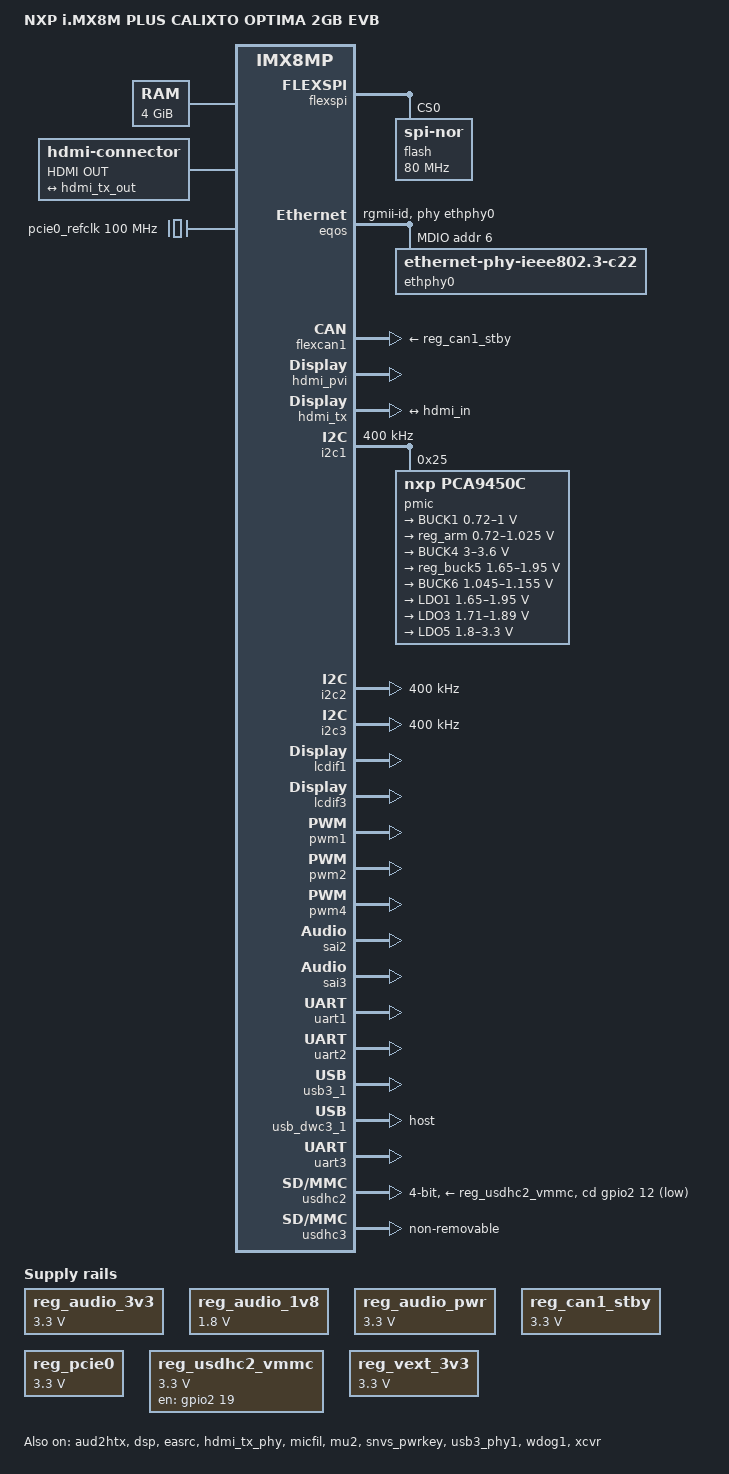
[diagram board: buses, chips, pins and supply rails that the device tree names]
// SPDX-License-Identifier: (GPL-2.0+ OR MIT)
/*
 * Copyright 2026 CALIXTO SYSTEMS
 */

/dts-v1/;

#include <dt-bindings/phy/phy-imx8-pcie.h>
#include <dt-bindings/usb/pd.h>
#include "imx8mp.dtsi"

/ {
	model = "NXP i.MX8M PLUS CALIXTO OPTIMA 2GB EVB";
	compatible = "fsl,imx8mp-calixto-optima-som", "fsl,imx8mp";

	chosen {
		bootargs = "console=ttymxc1,115200 earlycon=ec_imx6q,0x30890000,115200";
		stdout-path = &uart2;
	};

	memory@40000000 {
		device_type = "memory";
		reg = <0x0 0x40000000 0 0xC0000000>,
		      <0x1 0x00000000 0 0x40000000>;
	};

	native-hdmi-connector {
		compatible = "hdmi-connector";
		label = "HDMI OUT";
		type = "a";

		port {
			hdmi_in: endpoint {
				remote-endpoint = <&hdmi_tx_out>;
			};
		};
	};

	pcie0_refclk: pcie0-refclk {
		compatible = "fixed-clock";
		#clock-cells = <0>;
		clock-frequency = <100000000>;
	};

	reg_audio_3v3: regulator-audio-3v3 {
		compatible = "regulator-fixed";
		regulator-name = "audio-3v3";
		regulator-min-microvolt = <3300000>;
		regulator-max-microvolt = <3300000>;
		regulator-always-on;
		regulator-boot-on;
	};

	reg_audio_1v8: regulator-audio-1v8 {
		compatible = "regulator-fixed";
		regulator-name = "audio-1v8";
		regulator-min-microvolt = <1800000>;
		regulator-max-microvolt = <1800000>;
		regulator-always-on;
		regulator-boot-on;
	};

	reg_audio_pwr: regulator-audio-pwr {
		compatible = "regulator-fixed";
		regulator-name = "audio-pwr";
		regulator-min-microvolt = <3300000>;
		regulator-max-microvolt = <3300000>;
		regulator-always-on;
		regulator-boot-on;
	};

	reg_can1_stby: regulator-can1-stby {
		compatible = "regulator-fixed";
		regulator-name = "can1-stby";
		regulator-min-microvolt = <3300000>;
		regulator-max-microvolt = <3300000>;
		regulator-always-on;
		regulator-boot-on;
	};

	reg_pcie0: regulator-pcie {
		compatible = "regulator-fixed";
		regulator-name = "MPCIE_3V3";
		regulator-min-microvolt = <3300000>;
		regulator-max-microvolt = <3300000>;
		regulator-always-on;
		regulator-boot-on;
	};

	reg_usdhc2_vmmc: regulator-usdhc2 {
		compatible = "regulator-fixed";
		pinctrl-names = "default";
		pinctrl-0 = <&pinctrl_reg_usdhc2_vmmc>;
		regulator-name = "VSD_3V3";
		regulator-min-microvolt = <3300000>;
		regulator-max-microvolt = <3300000>;
		gpio = <&gpio2 19 GPIO_ACTIVE_HIGH>;
		enable-active-high;
		startup-delay-us = <100>;
		off-on-delay-us = <12000>;
	};

	reg_vext_3v3: regulator-vext-3v3 {
		compatible = "regulator-fixed";
		regulator-name = "VEXT_3V3";
		regulator-min-microvolt = <3300000>;
		regulator-max-microvolt = <3300000>;
	};

	sound-hdmi {
		compatible = "fsl,imx-audio-hdmi";
		model = "audio-hdmi";
		audio-cpu = <&aud2htx>;
		hdmi-out;
	};


	reserved-memory {
		#address-cells = <2>;
		#size-cells = <2>;
		ranges;

		dsp_vdev0vring0: vdev0vring0@942f0000 {
			reg = <0 0x942f0000 0 0x8000>;
			no-map;
		};

		dsp_vdev0vring1: vdev0vring1@942f8000 {
			reg = <0 0x942f8000 0 0x8000>;
			no-map;
		};

		dsp_vdev0buffer: vdev0buffer@94300000 {
			compatible = "shared-dma-pool";
			reg = <0 0x94300000 0 0x100000>;
			no-map;
		};
	};
};

&flexspi {
	pinctrl-names = "default";
	pinctrl-0 = <&pinctrl_flexspi0>;
	status = "okay";

	flash@0 {
		compatible = "jedec,spi-nor";
		reg = <0>;
		spi-max-frequency = <80000000>;
		spi-tx-bus-width = <1>;
		spi-rx-bus-width = <4>;
	};
};

&A53_0 {
	cpu-supply = <&reg_arm>;
};

&A53_1 {
	cpu-supply = <&reg_arm>;
};

&A53_2 {
	cpu-supply = <&reg_arm>;
};

&A53_3 {
	cpu-supply = <&reg_arm>;
};

&aud2htx {
	status = "okay";
};

&dsp_reserved {
	status = "okay";
};

&dsp {
	memory-region = <&dsp_vdev0buffer>, <&dsp_vdev0vring0>,
			<&dsp_vdev0vring1>, <&dsp_reserved>;
	status = "okay";
};

&easrc {
	fsl,asrc-rate = <48000>;
	status = "okay";
};

&eqos {
	pinctrl-names = "default";
	pinctrl-0 = <&pinctrl_eqos>;
	phy-mode = "rgmii-id";
	phy-handle = <&ethphy0>;
	snps,force_thresh_dma_mode;
	status = "okay";

	mdio {
		compatible = "snps,dwmac-mdio";
		#address-cells = <1>;
		#size-cells = <0>;

		ethphy0: ethernet-phy@6 {
			compatible = "ethernet-phy-ieee802.3-c22";
			reg = <6>;
			eee-broken-1000t;
		};
	};
};

&flexcan1 {
	pinctrl-names = "default";
	pinctrl-0 = <&pinctrl_flexcan1>;
	xceiver-supply = <&reg_can1_stby>;
	status = "okay";
};

&flexcan2 {
	status = "disabled";/* can2 pin conflict with pdm */
};

&hdmi_pvi {
	status = "okay";
};

&hdmi_tx {
	pinctrl-names = "default";
	pinctrl-0 = <&pinctrl_hdmi>;
	status = "okay";

	ports {
		port@1 {
			hdmi_tx_out: endpoint {
				remote-endpoint = <&hdmi_in>;
			};
		};
	};
};

&hdmi_tx_phy {
	status = "okay";
};

&i2c1 {
	clock-frequency = <400000>;
	pinctrl-names = "default";
	pinctrl-0 = <&pinctrl_i2c1>;
	status = "okay";

	pmic@25 {
		compatible = "nxp,pca9450c";
		reg = <0x25>;

		regulators {
			BUCK1 {
				regulator-name = "BUCK1";
				regulator-min-microvolt = <720000>;
				regulator-max-microvolt = <1000000>;
				regulator-boot-on;
				regulator-always-on;
				regulator-ramp-delay = <3125>;
			};

			reg_arm: BUCK2 {
				regulator-name = "BUCK2";
				regulator-min-microvolt = <720000>;
				regulator-max-microvolt = <1025000>;
				regulator-boot-on;
				regulator-always-on;
				regulator-ramp-delay = <3125>;
				nxp,dvs-run-voltage = <950000>;
				nxp,dvs-standby-voltage = <850000>;
			};

			BUCK4 {
				regulator-name = "BUCK4";
				regulator-min-microvolt = <3000000>;
				regulator-max-microvolt = <3600000>;
				regulator-boot-on;
				regulator-always-on;
			};

			reg_buck5: BUCK5 {
				regulator-name = "BUCK5";
				regulator-min-microvolt = <1650000>;
				regulator-max-microvolt = <1950000>;
				regulator-boot-on;
				regulator-always-on;
			};

			BUCK6 {
				regulator-name = "BUCK6";
				regulator-min-microvolt = <1045000>;
				regulator-max-microvolt = <1155000>;
				regulator-boot-on;
				regulator-always-on;
			};

			LDO1 {
				regulator-name = "LDO1";
				regulator-min-microvolt = <1650000>;
				regulator-max-microvolt = <1950000>;
				regulator-boot-on;
				regulator-always-on;
			};

			LDO3 {
				regulator-name = "LDO3";
				regulator-min-microvolt = <1710000>;
				regulator-max-microvolt = <1890000>;
				regulator-boot-on;
				regulator-always-on;
			};

			LDO5 {
				regulator-name = "LDO5";
				regulator-min-microvolt = <1800000>;
				regulator-max-microvolt = <3300000>;
				regulator-boot-on;
				regulator-always-on;
			};
		};
	};
};

&i2c2 {
	clock-frequency = <400000>;
	pinctrl-names = "default";
	pinctrl-0 = <&pinctrl_i2c2>;
	status = "okay";
};

&i2c3 {
	clock-frequency = <400000>;
	pinctrl-names = "default";
	pinctrl-0 = <&pinctrl_i2c3>;
	status = "okay";

};

/* I2C on expansion connector J22. */
&i2c5 {
	clock-frequency = <100000>; /* Lower clock speed for external bus. */
	pinctrl-names = "default";
	pinctrl-0 = <&pinctrl_i2c5>;
	status = "disabled"; /* can1 pins conflict with i2c5 */

	/* GPIO 2 of PCA6416 is used to switch between CAN1 and I2C5 functions:
	 *     LOW:  CAN1 (default, pull-down)
	 *     HIGH: I2C5
	 * You need to set it to high to enable I2C5 (for example, add gpio-hog
	 * in pca6416 node).
	 */
};

&lcdif1 {
	status = "okay";
};

&lcdif3 {
	status = "okay";
};

&micfil {
	#sound-dai-cells = <0>;
	pinctrl-names = "default";
	pinctrl-0 = <&pinctrl_pdm>;
	assigned-clocks = <&clk IMX8MP_CLK_PDM>;
	assigned-clock-parents = <&clk IMX8MP_AUDIO_PLL1_OUT>;
	assigned-clock-rates = <196608000>;
	status = "okay";
};

&mipi_dsi {
	samsung,esc-clock-frequency = <10000000>;
	status = "disabled";
};

&mu2 {
	status = "okay";
};

&pcie_phy {
	fsl,refclk-pad-mode = <IMX8_PCIE_REFCLK_PAD_INPUT>;
	clocks = <&pcie0_refclk>;
	clock-names = "ref";
	status = "disabled";
};

&pcie0 {
	pinctrl-names = "default";
	pinctrl-0 = <&pinctrl_pcie0>;
	reset-gpio = <&gpio1 6 GPIO_ACTIVE_LOW>;
	vpcie-supply = <&reg_pcie0>;
	status = "disabled";
};

&pcie0_ep {
	pinctrl-0 = <&pinctrl_pcie0>;
	pinctrl-names = "default";
	status = "disabled";
};

&pwm1 {
	pinctrl-names = "default";
	pinctrl-0 = <&pinctrl_pwm1>;
	status = "okay";
};

&pwm2 {
	pinctrl-names = "default";
	pinctrl-0 = <&pinctrl_pwm2>;
	status = "okay";
};

&pwm4 {
	pinctrl-names = "default";
	pinctrl-0 = <&pinctrl_pwm4>;
	status = "okay";
};

&sai2 {
	#sound-dai-cells = <0>;
	pinctrl-names = "default";
	pinctrl-0 = <&pinctrl_sai2>;
	assigned-clocks = <&clk IMX8MP_CLK_SAI2>;
	assigned-clock-parents = <&clk IMX8MP_AUDIO_PLL1_OUT>;
	assigned-clock-rates = <12288000>;
	fsl,sai-mclk-direction-output;
	status = "okay";
};

&sai3 {
	pinctrl-names = "default";
	pinctrl-0 = <&pinctrl_sai3>;
	assigned-clocks = <&clk IMX8MP_CLK_SAI3>;
	assigned-clock-parents = <&clk IMX8MP_AUDIO_PLL1_OUT>;
	assigned-clock-rates = <12288000>;
	fsl,sai-mclk-direction-output;
	status = "okay";
};

&snvs_pwrkey {
	status = "okay";
};

&uart1 { 
	pinctrl-names = "default";
	pinctrl-0 = <&pinctrl_uart1>;
	status = "okay";
};

&uart2 {
	/* console */
	pinctrl-names = "default";
	pinctrl-0 = <&pinctrl_uart2>;
	status = "okay";
};

&usb3_phy1 {
	status = "okay";
};

&usb3_1 {
	status = "okay";
};

&usb_dwc3_1 {
	pinctrl-names = "default";
	pinctrl-0 = <&pinctrl_usb1_vbus>;
	dr_mode = "host";
	status = "okay";
};

&uart3 {
	pinctrl-names = "default";
	pinctrl-0 = <&pinctrl_uart3>;
	assigned-clocks = <&clk IMX8MP_CLK_UART3>;
	assigned-clock-parents = <&clk IMX8MP_SYS_PLL1_80M>;
	uart-has-rtscts;
	status = "okay";
};

&usdhc2 {
	pinctrl-names = "default", "state_100mhz", "state_200mhz";
	pinctrl-0 = <&pinctrl_usdhc2>, <&pinctrl_usdhc2_gpio>;
	pinctrl-1 = <&pinctrl_usdhc2_100mhz>, <&pinctrl_usdhc2_gpio>;
	pinctrl-2 = <&pinctrl_usdhc2_200mhz>, <&pinctrl_usdhc2_gpio>;
	cd-gpios = <&gpio2 12 GPIO_ACTIVE_LOW>;
	vmmc-supply = <&reg_usdhc2_vmmc>;
	bus-width = <4>;
	no-1-8-v;
	status = "okay";
};

&usdhc3 {
	assigned-clocks = <&clk IMX8MP_CLK_USDHC3>;
	assigned-clock-rates = <400000000>;
	pinctrl-names = "default", "state_100mhz", "state_200mhz";
	pinctrl-0 = <&pinctrl_usdhc3>;
	pinctrl-1 = <&pinctrl_usdhc3_100mhz>;
	pinctrl-2 = <&pinctrl_usdhc3_200mhz>;
	non-removable;
	status = "okay";
};

&wdog1 {
	pinctrl-names = "default";
	pinctrl-0 = <&pinctrl_wdog>;
	fsl,ext-reset-output;
	status = "okay";
};

&xcvr {
	#sound-dai-cells = <0>;
	status = "okay";
};

&iomuxc {
	pinctrl-names = "default";
	pinctrl-0 = <&pinctrl_hog>;

	pinctrl_audio_pwr_reg: audiopwrreggrp {
		fsl,pins = <
			MX8MP_IOMUXC_SAI3_RXC__GPIO4_IO29		0xd6
		>;
	};

	pinctrl_eqos: eqosgrp {
		fsl,pins = <
			MX8MP_IOMUXC_ENET_MDC__ENET_QOS_MDC				0x2
			MX8MP_IOMUXC_ENET_MDIO__ENET_QOS_MDIO				0x2
			MX8MP_IOMUXC_ENET_RD0__ENET_QOS_RGMII_RD0			0x90
			MX8MP_IOMUXC_ENET_RD1__ENET_QOS_RGMII_RD1			0x90
			MX8MP_IOMUXC_ENET_RD2__ENET_QOS_RGMII_RD2			0x90
			MX8MP_IOMUXC_ENET_RD3__ENET_QOS_RGMII_RD3			0x90
			MX8MP_IOMUXC_ENET_RXC__CCM_ENET_QOS_CLOCK_GENERATE_RX_CLK	0x90
			MX8MP_IOMUXC_ENET_RX_CTL__ENET_QOS_RGMII_RX_CTL			0x90
			MX8MP_IOMUXC_ENET_TD0__ENET_QOS_RGMII_TD0			0x16
			MX8MP_IOMUXC_ENET_TD1__ENET_QOS_RGMII_TD1			0x16
			MX8MP_IOMUXC_ENET_TD2__ENET_QOS_RGMII_TD2			0x16
			MX8MP_IOMUXC_ENET_TD3__ENET_QOS_RGMII_TD3			0x16
			MX8MP_IOMUXC_ENET_TX_CTL__ENET_QOS_RGMII_TX_CTL			0x16
			MX8MP_IOMUXC_ENET_TXC__CCM_ENET_QOS_CLOCK_GENERATE_TX_CLK	0x16
		>;
	};

	pinctrl_flexcan1: flexcan1grp {
		fsl,pins = <
			//MX8MP_IOMUXC_SPDIF_RX__CAN1_RX          0x154
			//MX8MP_IOMUXC_SPDIF_TX__CAN1_TX          0x154
			MX8MP_IOMUXC_SAI2_RXC__CAN1_TX             0x00000106
                	MX8MP_IOMUXC_SAI2_TXC__CAN1_RX             0x00000106
		>;
	};

	pinctrl_flexcan2: flexcan2grp {
		fsl,pins = <
			MX8MP_IOMUXC_SAI5_MCLK__CAN2_RX         0x154
			MX8MP_IOMUXC_SAI5_RXD3__CAN2_TX         0x154
		>;
	};

	pinctrl_flexcan1_reg: flexcan1reggrp {
		fsl,pins = <
			MX8MP_IOMUXC_SPDIF_EXT_CLK__GPIO5_IO05  0x154   /* CAN1_STBY */
		>;
	};

	pinctrl_flexcan2_reg: flexcan2reggrp {
		fsl,pins = <
			MX8MP_IOMUXC_SAI2_MCLK__GPIO4_IO27      0x154   /* CAN2_STBY */
		>;
	};

	pinctrl_flexspi0: flexspi0grp {
		fsl,pins = <
			MX8MP_IOMUXC_NAND_ALE__FLEXSPI_A_SCLK           0x1c2
			MX8MP_IOMUXC_NAND_CE0_B__FLEXSPI_A_SS0_B        0x82
			MX8MP_IOMUXC_NAND_DATA00__FLEXSPI_A_DATA00      0x82
			MX8MP_IOMUXC_NAND_DATA01__FLEXSPI_A_DATA01      0x82
			MX8MP_IOMUXC_NAND_DATA02__FLEXSPI_A_DATA02      0x82
			MX8MP_IOMUXC_NAND_DATA03__FLEXSPI_A_DATA03      0x82
		>;
	};

	pinctrl_gpio_led: gpioledgrp {
		fsl,pins = <
			MX8MP_IOMUXC_NAND_READY_B__GPIO3_IO16	0x140
		>;
	};

	pinctrl_hdmi: hdmigrp {
		fsl,pins = <
			MX8MP_IOMUXC_HDMI_DDC_SCL__HDMIMIX_HDMI_SCL	0x1c2
			MX8MP_IOMUXC_HDMI_DDC_SDA__HDMIMIX_HDMI_SDA	0x1c2
			MX8MP_IOMUXC_HDMI_CEC__HDMIMIX_HDMI_CEC		0x10
		>;
	};

	pinctrl_hog: hoggrp {
		fsl,pins = <
			MX8MP_IOMUXC_HDMI_HPD__HDMIMIX_HDMI_HPD		0x40000010
		>;
	};

	pinctrl_hpdet: hpdetgrp {
		fsl,pins = <
			MX8MP_IOMUXC_SAI3_RXFS__GPIO4_IO28		0xd6
		>;
	};

	pinctrl_i2c1: i2c1grp {
		fsl,pins = <
			MX8MP_IOMUXC_I2C1_SCL__I2C1_SCL		0x400001c2
			MX8MP_IOMUXC_I2C1_SDA__I2C1_SDA		0x400001c2
		>;
	};

	pinctrl_i2c2: i2c2grp {
		fsl,pins = <
			MX8MP_IOMUXC_I2C2_SCL__I2C2_SCL		0x400001c2
			MX8MP_IOMUXC_I2C2_SDA__I2C2_SDA		0x400001c2
		>;
	};

	pinctrl_i2c3: i2c3grp {
		fsl,pins = <
			MX8MP_IOMUXC_I2C3_SCL__I2C3_SCL		0x400001c2
			MX8MP_IOMUXC_I2C3_SDA__I2C3_SDA		0x400001c2
		>;
	};

	pinctrl_i2c5: i2c5grp {
		fsl,pins = <
			MX8MP_IOMUXC_SPDIF_RX__I2C5_SDA         0x400001c2
			MX8MP_IOMUXC_SPDIF_TX__I2C5_SCL         0x400001c2
		>;
	};

	pinctrl_lvds_en: lvdsengrp {
		fsl,pins = <
			MX8MP_IOMUXC_GPIO1_IO10__GPIO1_IO10	0x1c0
		>;
	};

	pinctrl_pcie0: pcie0grp {
		fsl,pins = <
			MX8MP_IOMUXC_UART4_RXD__PCIE_CLKREQ_B	0x60 /* open drain, pull up */
			MX8MP_IOMUXC_GPIO1_IO06__GPIO1_IO06	0x40
		>;
	};

	pinctrl_pcie0_reg: pcie0reggrp {
		fsl,pins = <
			MX8MP_IOMUXC_SD1_DATA4__GPIO2_IO06	0x40
		>;
	};

	pinctrl_pdm: pdmgrp {
		fsl,pins = <
			MX8MP_IOMUXC_SAI5_RXC__AUDIOMIX_PDM_CLK		0xd6
			MX8MP_IOMUXC_SAI5_RXD0__AUDIOMIX_PDM_BIT_STREAM00	0xd6
			MX8MP_IOMUXC_SAI5_RXD1__AUDIOMIX_PDM_BIT_STREAM01	0xd6
			MX8MP_IOMUXC_SAI5_RXD2__AUDIOMIX_PDM_BIT_STREAM02	0xd6
			MX8MP_IOMUXC_SAI5_RXD3__AUDIOMIX_PDM_BIT_STREAM03	0xd6
		>;
	};

	pinctrl_pmic: pmicgrp {
		fsl,pins = <
			MX8MP_IOMUXC_GPIO1_IO03__GPIO1_IO03	0x000001c0
		>;
	};

	pinctrl_pca6416_int: pca6416_int_grp {
		fsl,pins = <
			MX8MP_IOMUXC_GPIO1_IO12__GPIO1_IO12	0x146 /* Input pull-up. */
		>;
	};

	pinctrl_pwm1: pwm1grp {
		fsl,pins = <
			MX8MP_IOMUXC_GPIO1_IO01__PWM1_OUT	0x116
		>;
	};

	pinctrl_pwm2: pwm2grp {
		fsl,pins = <
			MX8MP_IOMUXC_GPIO1_IO11__PWM2_OUT	0x116
		>;
	};

	pinctrl_pwm4: pwm4grp {
		fsl,pins = <
			MX8MP_IOMUXC_SAI5_RXFS__PWM4_OUT	0x116
		>;
	};

	pinctrl_reg_usdhc2_vmmc: regusdhc2vmmcgrp {
		fsl,pins = <
			MX8MP_IOMUXC_SD2_RESET_B__GPIO2_IO19	0x40
		>;
	};

	pinctrl_uart1: uart1grp {
		fsl,pins = <
			MX8MP_IOMUXC_UART1_RXD__UART1_DCE_RX	0x140
			MX8MP_IOMUXC_UART1_TXD__UART1_DCE_TX	0x140
			MX8MP_IOMUXC_UART3_RXD__UART1_DCE_CTS	0x140
			MX8MP_IOMUXC_UART3_TXD__UART1_DCE_RTS	0x140
		>;
	};

	pinctrl_sai2: sai2grp {
		fsl,pins = <
			MX8MP_IOMUXC_SAI2_TXC__AUDIOMIX_SAI2_TX_BCLK	0xd6
			MX8MP_IOMUXC_SAI2_TXFS__AUDIOMIX_SAI2_TX_SYNC	0xd6
			MX8MP_IOMUXC_SAI2_TXD0__AUDIOMIX_SAI2_TX_DATA00	0xd6
			MX8MP_IOMUXC_SAI2_RXD0__AUDIOMIX_SAI2_RX_DATA00	0xd6
		>;
	};

	pinctrl_sai3: sai3grp {
		fsl,pins = <
			MX8MP_IOMUXC_SAI3_TXFS__AUDIOMIX_SAI3_TX_SYNC	0xd6
			MX8MP_IOMUXC_SAI3_TXC__AUDIOMIX_SAI3_TX_BCLK	0xd6
			MX8MP_IOMUXC_SAI3_RXD__AUDIOMIX_SAI3_RX_DATA00	0xd6
			MX8MP_IOMUXC_SAI3_TXD__AUDIOMIX_SAI3_TX_DATA00	0xd6
			MX8MP_IOMUXC_SAI3_MCLK__AUDIOMIX_SAI3_MCLK	0xd6
		>;
	};

	pinctrl_uart2: uart2grp {
		fsl,pins = <
			MX8MP_IOMUXC_UART2_RXD__UART2_DCE_RX	0x140
			MX8MP_IOMUXC_UART2_TXD__UART2_DCE_TX	0x140
		>;
	};

	pinctrl_usb1_vbus: usb1grp {
		fsl,pins = <
			MX8MP_IOMUXC_GPIO1_IO14__USB2_OTG_PWR	0x10
		>;
	};

	pinctrl_uart3: uart3grp {
		fsl,pins = <
			MX8MP_IOMUXC_ECSPI1_SCLK__UART3_DCE_RX		0x140
			MX8MP_IOMUXC_ECSPI1_MOSI__UART3_DCE_TX		0x140
			MX8MP_IOMUXC_ECSPI1_SS0__UART3_DCE_RTS		0x140
			MX8MP_IOMUXC_ECSPI1_MISO__UART3_DCE_CTS		0x140
		>;
	};

	pinctrl_usdhc2: usdhc2grp {
		fsl,pins = <
			MX8MP_IOMUXC_SD2_CLK__USDHC2_CLK	0x190
			MX8MP_IOMUXC_SD2_CMD__USDHC2_CMD	0x1d0
			MX8MP_IOMUXC_SD2_DATA0__USDHC2_DATA0	0x1d0
			MX8MP_IOMUXC_SD2_DATA1__USDHC2_DATA1	0x1d0
			MX8MP_IOMUXC_SD2_DATA2__USDHC2_DATA2	0x1d0
			MX8MP_IOMUXC_SD2_DATA3__USDHC2_DATA3	0x1d0
			MX8MP_IOMUXC_GPIO1_IO04__GPIO1_IO04	0xc0
		>;
	};

	pinctrl_usdhc2_100mhz: usdhc2-100mhzgrp {
		fsl,pins = <
			MX8MP_IOMUXC_SD2_CLK__USDHC2_CLK	0x194
			MX8MP_IOMUXC_SD2_CMD__USDHC2_CMD	0x1d4
			MX8MP_IOMUXC_SD2_DATA0__USDHC2_DATA0	0x1d4
			MX8MP_IOMUXC_SD2_DATA1__USDHC2_DATA1	0x1d4
			MX8MP_IOMUXC_SD2_DATA2__USDHC2_DATA2	0x1d4
			MX8MP_IOMUXC_SD2_DATA3__USDHC2_DATA3	0x1d4
			MX8MP_IOMUXC_GPIO1_IO04__GPIO1_IO04     0xc0
		>;
	};

	pinctrl_usdhc2_200mhz: usdhc2-200mhzgrp {
		fsl,pins = <
			MX8MP_IOMUXC_SD2_CLK__USDHC2_CLK	0x196
			MX8MP_IOMUXC_SD2_CMD__USDHC2_CMD	0x1d6
			MX8MP_IOMUXC_SD2_DATA0__USDHC2_DATA0	0x1d6
			MX8MP_IOMUXC_SD2_DATA1__USDHC2_DATA1	0x1d6
			MX8MP_IOMUXC_SD2_DATA2__USDHC2_DATA2	0x1d6
			MX8MP_IOMUXC_SD2_DATA3__USDHC2_DATA3	0x1d6
			MX8MP_IOMUXC_GPIO1_IO04__GPIO1_IO04 0xc0
		>;
	};

	pinctrl_usdhc2_gpio: usdhc2gpiogrp {
		fsl,pins = <
			MX8MP_IOMUXC_SD2_CD_B__GPIO2_IO12	0x1c4
		>;
	};

	pinctrl_usdhc3: usdhc3grp {
		fsl,pins = <
			MX8MP_IOMUXC_NAND_WE_B__USDHC3_CLK	0x190
			MX8MP_IOMUXC_NAND_WP_B__USDHC3_CMD	0x1d0
			MX8MP_IOMUXC_NAND_DATA04__USDHC3_DATA0	0x1d0
			MX8MP_IOMUXC_NAND_DATA05__USDHC3_DATA1	0x1d0
			MX8MP_IOMUXC_NAND_DATA06__USDHC3_DATA2	0x1d0
			MX8MP_IOMUXC_NAND_DATA07__USDHC3_DATA3	0x1d0
			MX8MP_IOMUXC_NAND_RE_B__USDHC3_DATA4	0x1d0
			MX8MP_IOMUXC_NAND_CE2_B__USDHC3_DATA5	0x1d0
			MX8MP_IOMUXC_NAND_CE3_B__USDHC3_DATA6	0x1d0
			MX8MP_IOMUXC_NAND_CLE__USDHC3_DATA7	0x1d0
			MX8MP_IOMUXC_NAND_CE1_B__USDHC3_STROBE	0x190
		>;
	};

	pinctrl_usdhc3_100mhz: usdhc3-100mhzgrp {
		fsl,pins = <
			MX8MP_IOMUXC_NAND_WE_B__USDHC3_CLK	0x194
			MX8MP_IOMUXC_NAND_WP_B__USDHC3_CMD	0x1d4
			MX8MP_IOMUXC_NAND_DATA04__USDHC3_DATA0	0x1d4
			MX8MP_IOMUXC_NAND_DATA05__USDHC3_DATA1	0x1d4
			MX8MP_IOMUXC_NAND_DATA06__USDHC3_DATA2	0x1d4
			MX8MP_IOMUXC_NAND_DATA07__USDHC3_DATA3	0x1d4
			MX8MP_IOMUXC_NAND_RE_B__USDHC3_DATA4	0x1d4
			MX8MP_IOMUXC_NAND_CE2_B__USDHC3_DATA5	0x1d4
			MX8MP_IOMUXC_NAND_CE3_B__USDHC3_DATA6	0x1d4
			MX8MP_IOMUXC_NAND_CLE__USDHC3_DATA7	0x1d4
			MX8MP_IOMUXC_NAND_CE1_B__USDHC3_STROBE	0x194
		>;
	};

	pinctrl_usdhc3_200mhz: usdhc3-200mhzgrp {
		fsl,pins = <
			MX8MP_IOMUXC_NAND_WE_B__USDHC3_CLK	0x196
			MX8MP_IOMUXC_NAND_WP_B__USDHC3_CMD	0x1d6
			MX8MP_IOMUXC_NAND_DATA04__USDHC3_DATA0	0x1d6
			MX8MP_IOMUXC_NAND_DATA05__USDHC3_DATA1	0x1d6
			MX8MP_IOMUXC_NAND_DATA06__USDHC3_DATA2	0x1d6
			MX8MP_IOMUXC_NAND_DATA07__USDHC3_DATA3	0x1d6
			MX8MP_IOMUXC_NAND_RE_B__USDHC3_DATA4	0x1d6
			MX8MP_IOMUXC_NAND_CE2_B__USDHC3_DATA5	0x1d6
			MX8MP_IOMUXC_NAND_CE3_B__USDHC3_DATA6	0x1d6
			MX8MP_IOMUXC_NAND_CLE__USDHC3_DATA7	0x1d6
			MX8MP_IOMUXC_NAND_CE1_B__USDHC3_STROBE	0x196
		>;
	};

	pinctrl_wdog: wdoggrp {
		fsl,pins = <
			MX8MP_IOMUXC_GPIO1_IO02__WDOG1_WDOG_B	0x166
		>;
	};
};
